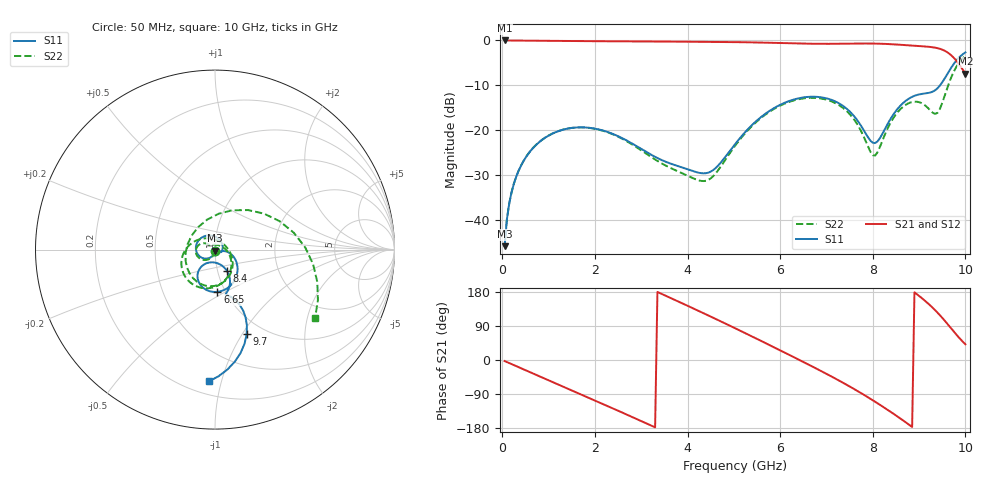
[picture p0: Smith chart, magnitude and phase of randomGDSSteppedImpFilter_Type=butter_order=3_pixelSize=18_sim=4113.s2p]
! freq	dB(S11)	phase(S11)	dB(S12)	phase(S12)
!  dB(S21)	phase(S21)	dB(S22)	phase(S22)
!S-par simulation data
#  GHz  S  DB  R 50
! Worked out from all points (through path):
!   200 points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, 50 MHz to 10 GHz, reference 50 ohm
!   highest |S21| = -0.01 dB at 50 MHz (marker M1); lowest = -7.4 dB at 10 GHz (marker M2)
!   group delay of S21, straight-line fit = 174 ps
!   lowest |S11| = -45.9 dB at 50 MHz (marker M3), VSWR 1.01, Z = 50 - j0.51 ohm
!   |S11| at or under -10 dB: start of sweep to 9.453 GHz
!   |S22| runs from -45.8 to -3.4 dB; largest |S21 - S12| = 0
!   S11 on the Smith chart (normalised r, x): 50 MHz: 1.00, -0.01; 6.65 GHz: 0.92, -0.46; 8.4 GHz: 1.11, -0.27; 9.7 GHz: 0.83, -1.05; 10 GHz: 0.29, -0.91
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0.05  -45.85 -89.2  -0.01 -2.7  -0.01 -2.7  -45.84 -88.7
0.1  -39.83 -94.0  -0.01 -5.4  -0.01 -5.4  -39.81 -93.1
0.2  -33.84 -100.8  -0.02 -10.8  -0.02 -10.8  -33.83 -99.0
0.5  -26.17 -119.0  -0.05 -26.9  -0.05 -26.9  -26.16 -114.4
1.15  -20.46 -158.0  -0.11 -61.5  -0.11 -61.5  -20.44 -146.2
1.75  -19.38 164.8  -0.16 -93.4  -0.16 -93.4  -19.39 -173.8
2.65  -22.10 100.3  -0.20 -142.0  -0.20 -142.0  -22.25 152.7
3.4  -26.46 28.1  -0.24 176.7  -0.24 176.7  -27.16 142.3
4.4  -29.59 -23.6  -0.31 120.3  -0.31 120.3  -31.28 79.5
5.05  -22.79 -10.9  -0.38 82.5  -0.38 82.5  -23.16 -8.6
5.9  -14.89 -46.6  -0.56 31.6  -0.56 31.6  -15.08 -70.2
6.65  -12.55 -86.6  -0.74 -14.4  -0.74 -14.4  -12.79 -119.7
6.7  -12.54 -89.3  -0.74 -17.5  -0.74 -17.5  -12.78 -123.1
7.65  -17.58 -128.8  -0.70 -80.3  -0.70 -80.3  -18.44 156.4
8.05  -22.88 -93.0  -0.71 -110.1  -0.71 -110.1  -25.65 52.5
8.35  -18.07 -61.3  -0.81 -133.9  -0.81 -133.9  -19.01 -30.0
8.4  -17.21 -60.7  -0.84 -138.0  -0.84 -138.0  -18.05 -37.8
8.75  -13.18 -68.4  -1.08 -167.8  -1.08 -167.8  -14.11 -84.0
9.1  -11.85 -76.7  -1.33 159.1  -1.33 159.1  -14.25 -137.1
9.4  -10.64 -69.0  -1.73 124.7  -1.73 124.7  -16.12 127.0
9.7  -5.97 -69.5  -3.37 82.4  -3.37 82.4  -8.09 23.6
10  -2.68 -92.6  -7.41 41.5  -7.41 41.5  -3.42 -34.2
